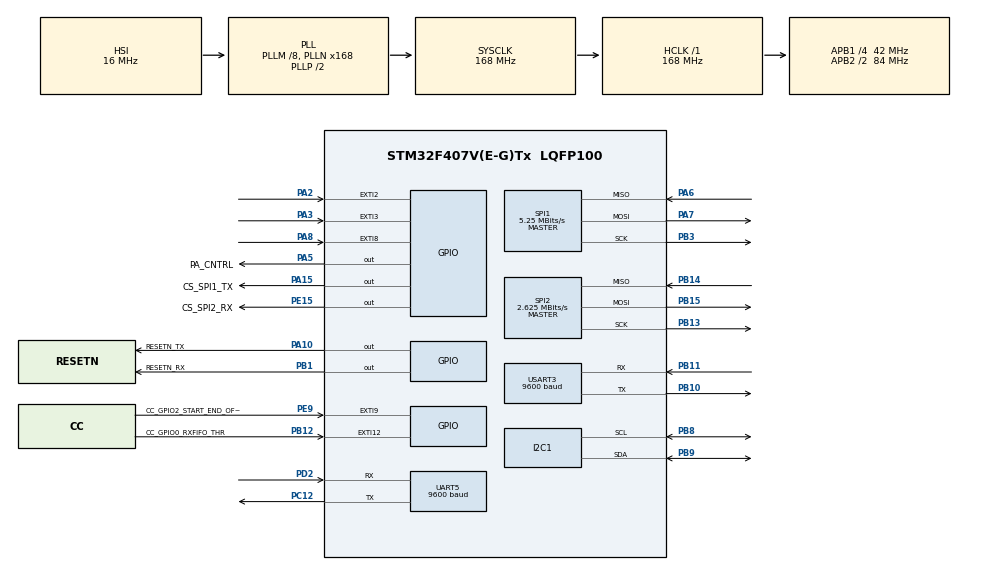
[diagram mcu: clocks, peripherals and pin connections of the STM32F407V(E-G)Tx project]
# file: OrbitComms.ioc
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ADC1.Channel-4\#ChannelRegularConversion=ADC_CHANNEL_TEMPSENSOR
ADC1.Channel-5\#ChannelRegularConversion=ADC_CHANNEL_TEMPSENSOR
ADC1.Channel-6\#ChannelRegularConversion=ADC_CHANNEL_TEMPSENSOR
ADC1.Channel-7\#ChannelRegularConversion=ADC_CHANNEL_TEMPSENSOR
ADC1.Channel-8\#ChannelRegularConversion=ADC_CHANNEL_TEMPSENSOR
ADC1.Channel-9\#ChannelRegularConversion=ADC_CHANNEL_TEMPSENSOR
ADC1.ClockPrescaler=ADC_CLOCK_SYNC_PCLK_DIV8
ADC1.ContinuousConvMode=ENABLE
ADC1.DMAContinuousRequests=ENABLE
ADC1.DataAlign=ADC_DATAALIGN_RIGHT
ADC1.DiscontinuousConvMode=DISABLE
ADC1.EOCSelection=ADC_EOC_SEQ_CONV
ADC1.EnableAnalogWatchDog=false
ADC1.ExternalTrigConv=ADC_SOFTWARE_START
ADC1.ExternalTrigConvEdge=ADC_EXTERNALTRIGCONVEDGE_NONE
ADC1.InjNumberOfConversion=0
ADC1.NbrOfConversion=6
ADC1.Rank-4\#ChannelRegularConversion=1
ADC1.Rank-5\#ChannelRegularConversion=2
ADC1.Rank-6\#ChannelRegularConversion=3
ADC1.Rank-7\#ChannelRegularConversion=4
ADC1.Rank-8\#ChannelRegularConversion=5
ADC1.Rank-9\#ChannelRegularConversion=6
ADC1.Resolution=ADC_RESOLUTION_12B
ADC1.SamplingTime-4\#ChannelRegularConversion=ADC_SAMPLETIME_480CYCLES
ADC1.SamplingTime-5\#ChannelRegularConversion=ADC_SAMPLETIME_480CYCLES
ADC1.SamplingTime-6\#ChannelRegularConversion=ADC_SAMPLETIME_480CYCLES
ADC1.SamplingTime-7\#ChannelRegularConversion=ADC_SAMPLETIME_480CYCLES
ADC1.SamplingTime-8\#ChannelRegularConversion=ADC_SAMPLETIME_480CYCLES
ADC1.SamplingTime-9\#ChannelRegularConversion=ADC_SAMPLETIME_480CYCLES
ADC1.ScanConvMode=ENABLE
ADC1.master=1
Dma.ADC1.3.Direction=DMA_PERIPH_TO_MEMORY
Dma.ADC1.3.FIFOMode=DMA_FIFOMODE_ENABLE
Dma.ADC1.3.FIFOThreshold=DMA_FIFO_THRESHOLD_FULL
Dma.ADC1.3.Instance=DMA2_Stream0
Dma.ADC1.3.MemBurst=DMA_MBURST_INC4
Dma.ADC1.3.MemDataAlignment=DMA_MDATAALIGN_WORD
Dma.ADC1.3.MemInc=DMA_MINC_ENABLE
Dma.ADC1.3.Mode=DMA_NORMAL
Dma.ADC1.3.PeriphBurst=DMA_PBURST_SINGLE
Dma.ADC1.3.PeriphDataAlignment=DMA_PDATAALIGN_WORD
Dma.ADC1.3.PeriphInc=DMA_PINC_DISABLE
Dma.ADC1.3.Priority=DMA_PRIORITY_LOW
Dma.Request0=SPI2_RX
Dma.Request1=UART5_TX
Dma.Request2=SPI1_TX
Dma.Request3=ADC1
Dma.SPI1_TX.2.Direction=DMA_MEMORY_TO_PERIPH
Dma.SPI1_TX.2.FIFOMode=DMA_FIFOMODE_DISABLE
Dma.SPI1_TX.2.Instance=DMA2_Stream3
Dma.SPI1_TX.2.MemDataAlignment=DMA_MDATAALIGN_BYTE
Dma.SPI1_TX.2.MemInc=DMA_MINC_ENABLE
Dma.SPI1_TX.2.Mode=DMA_NORMAL
Dma.SPI1_TX.2.PeriphDataAlignment=DMA_PDATAALIGN_BYTE
Dma.SPI1_TX.2.PeriphInc=DMA_PINC_DISABLE
Dma.SPI1_TX.2.Priority=DMA_PRIORITY_LOW
Dma.SPI2_RX.0.Direction=DMA_PERIPH_TO_MEMORY
Dma.SPI2_RX.0.FIFOMode=DMA_FIFOMODE_DISABLE
Dma.SPI2_RX.0.Instance=DMA1_Stream3
Dma.SPI2_RX.0.MemDataAlignment=DMA_MDATAALIGN_BYTE
Dma.SPI2_RX.0.MemInc=DMA_MINC_ENABLE
Dma.SPI2_RX.0.Mode=DMA_NORMAL
Dma.SPI2_RX.0.PeriphDataAlignment=DMA_PDATAALIGN_BYTE
Dma.SPI2_RX.0.PeriphInc=DMA_PINC_DISABLE
Dma.SPI2_RX.0.Priority=DMA_PRIORITY_LOW
Dma.UART5_TX.1.Direction=DMA_MEMORY_TO_PERIPH
Dma.UART5_TX.1.FIFOMode=DMA_FIFOMODE_DISABLE
Dma.UART5_TX.1.Instance=DMA1_Stream7
Dma.UART5_TX.1.MemDataAlignment=DMA_MDATAALIGN_BYTE
Dma.UART5_TX.1.MemInc=DMA_MINC_ENABLE
Dma.UART5_TX.1.Mode=DMA_NORMAL
Dma.UART5_TX.1.PeriphDataAlignment=DMA_PDATAALIGN_BYTE
Dma.UART5_TX.1.PeriphInc=DMA_PINC_DISABLE
Dma.UART5_TX.1.Priority=DMA_PRIORITY_LOW
IWDG.Prescaler=IWDG_PRESCALER_256
Mcu.Family=STM32F4
Mcu.Name=STM32F407V(E-G)Tx
Mcu.Package=LQFP100
NVIC.ADC_IRQn=true\:0\:0\:false\:false\:true\:true
NVIC.DMA1_Stream3_IRQn=true\:0\:0\:false\:false\:true\:true
NVIC.DMA1_Stream7_IRQn=true\:0\:0\:false\:false\:true\:true
NVIC.DMA2_Stream0_IRQn=true\:0\:0\:false\:false\:true\:true
NVIC.DMA2_Stream3_IRQn=true\:0\:0\:false\:false\:true\:true
NVIC.EXTI15_10_IRQn=true\:0\:0\:false\:false\:true\:true
NVIC.EXTI2_IRQn=true\:0\:0\:false\:false\:true\:true
NVIC.EXTI3_IRQn=true\:0\:0\:false\:false\:true\:true
NVIC.EXTI9_5_IRQn=true\:0\:0\:false\:false\:true\:true
NVIC.PriorityGroup=NVIC_PRIORITYGROUP_4
NVIC.UART5_IRQn=true\:0\:0\:false\:false\:true\:true
PA10.GPIO_Label=RESETN_TX
PA10.PinState=GPIO_PIN_SET
PA10.Signal=GPIO_Output
PA15.GPIO_Label=CS_SPI1_TX
PA15.PinState=GPIO_PIN_SET
PA15.Signal=GPIO_Output
PA2.GPIO_ModeDefaultEXTI=GPIO_MODE_IT_FALLING
PA2.Signal=GPXTI2
PA3.GPIO_ModeDefaultEXTI=GPIO_MODE_IT_FALLING
PA3.Signal=GPXTI3
PA5.GPIO_Label=PA_CNTRL
PA5.Signal=GPIO_Output
PA6.GPIO_Speed=GPIO_SPEED_FREQ_LOW
PA6.Mode=Full_Duplex_Master
PA6.Signal=SPI1_MISO
PA7.GPIO_Speed=GPIO_SPEED_FREQ_LOW
PA7.Mode=Full_Duplex_Master
PA7.Signal=SPI1_MOSI
PA8.Signal=GPXTI8
PB1.GPIO_Label=RESETN_RX
PB1.PinState=GPIO_PIN_SET
PB1.Signal=GPIO_Output
PB10.Mode=Asynchronous
PB10.Signal=USART3_TX
PB11.Mode=Asynchronous
PB11.Signal=USART3_RX
PB12.GPIO_Label=CC_GPIO0_RXFIFO_THR
PB12.GPIO_ModeDefaultEXTI=GPIO_MODE_IT_RISING
PB12.Signal=GPXTI12
PB13.GPIO_Speed=GPIO_SPEED_FREQ_LOW
PB13.Mode=Full_Duplex_Master
PB13.Signal=SPI2_SCK
PB14.GPIO_Speed=GPIO_SPEED_FREQ_LOW
PB14.Mode=Full_Duplex_Master
PB14.Signal=SPI2_MISO
PB15.GPIO_Speed=GPIO_SPEED_FREQ_LOW
PB15.Mode=Full_Duplex_Master
PB15.Signal=SPI2_MOSI
PB3.GPIO_Speed=GPIO_SPEED_FREQ_LOW
PB3.Mode=Full_Duplex_Master
PB3.Signal=SPI1_SCK
PB8.Mode=I2C
PB8.Signal=I2C1_SCL
PB9.Mode=I2C
PB9.Signal=I2C1_SDA
PC12.Mode=Asynchronous
PC12.Signal=UART5_TX
PD2.Mode=Asynchronous
PD2.Signal=UART5_RX
PE15.GPIO_Label=CS_SPI2_RX
PE15.PinState=GPIO_PIN_SET
PE15.Signal=GPIO_Output
PE9.GPIO_Label=CC_GPIO2_START_END_OF_PACKET
PE9.GPIO_ModeDefaultEXTI=GPIO_MODE_IT_RISING_FALLING
PE9.Signal=GPXTI9
PH0-OSC_IN.Mode=HSE-External-Oscillator
PH0-OSC_IN.Signal=RCC_OSC_IN
PH1-OSC_OUT.Mode=HSE-External-Oscillator
PH1-OSC_OUT.Signal=RCC_OSC_OUT
ProjectManager.HeapSize=0x200
ProjectManager.StackSize=0x400
ProjectManager.TargetToolchain=SW4STM32
RCC.48MHZClocksFreq_Value=84000000
RCC.AHBFreq_Value=168000000
RCC.APB1CLKDivider=RCC_HCLK_DIV4
RCC.APB1Freq_Value=42000000
RCC.APB1TimFreq_Value=84000000
RCC.APB2CLKDivider=RCC_HCLK_DIV2
RCC.APB2Freq_Value=84000000
RCC.APB2TimFreq_Value=168000000
RCC.CortexFreq_Value=168000000
RCC.FLatency=FLASH_LATENCY_5
RCC.HCLKFreq_Value=168000000
RCC.HSE_VALUE=25000000
RCC.HSI_VALUE=16000000
RCC.LSE_VALUE=32768
RCC.PLLM=8
RCC.PLLN=168
RCC.SYSCLKFreq_VALUE=168000000
RCC.SYSCLKSource=RCC_SYSCLKSOURCE_PLLCLK
RCC.VCOOutputFreq_Value=336000000
SPI1.BaudRatePrescaler=SPI_BAUDRATEPRESCALER_16
SPI1.CalculateBaudRate=5.25 MBits/s
SPI1.Direction=SPI_DIRECTION_2LINES
SPI1.Mode=SPI_MODE_MASTER
SPI1.VirtualType=VM_MASTER
SPI2.BaudRatePrescaler=SPI_BAUDRATEPRESCALER_16
SPI2.CalculateBaudRate=2.625 MBits/s
SPI2.Direction=SPI_DIRECTION_2LINES
SPI2.Mode=SPI_MODE_MASTER
SPI2.VirtualType=VM_MASTER
UART5.BaudRate=9600
UART5.VirtualMode=Asynchronous
USART3.BaudRate=9600
USART3.VirtualMode=VM_ASYNC
VP_ADC1_TempSens_Input.Mode=IN-TempSens
VP_ADC1_Vref_Input.Mode=IN-Vrefint
VP_IWDG_VS_IWDG.Mode=IWDG_Activate
board=OrbitComms

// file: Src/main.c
/**
  ******************************************************************************
  * @file           : main.c
  * @brief          : Main program body
  ******************************************************************************
  ** This notice applies to any and all portions of this file
  * that are not between comment pairs USER CODE BEGIN and
  * USER CODE END. Other portions of this file, whether
  * inserted by the user or by software development tools
  * are owned by their respective copyright owners.
  *
  * COPYRIGHT(c) 2018 STMicroelectronics
  *
  * Redistribution and use in source and binary forms, with or without modification,
  * are permitted provided that the following conditions are met:
  *   1. Redistributions of source code must retain the above copyright notice,
  *      this list of conditions and the following disclaimer.
  *   2. Redistributions in binary form must reproduce the above copyright notice,
  *      this list of conditions and the following disclaimer in the documentation
  *      and/or other materials provided with the distribution.
  *   3. Neither the name of STMicroelectronics nor the names of its contributors
  *      may be used to endorse or promote products derived from this software
  *      without specific prior written permission.
  *
  * THIS SOFTWARE IS PROVIDED BY THE COPYRIGHT HOLDERS AND CONTRIBUTORS "AS IS"
  * AND ANY EXPRESS OR IMPLIED WARRANTIES, INCLUDING, BUT NOT LIMITED TO, THE
  * IMPLIED WARRANTIES OF MERCHANTABILITY AND FITNESS FOR A PARTICULAR PURPOSE ARE
  * DISCLAIMED. IN NO EVENT SHALL THE COPYRIGHT HOLDER OR CONTRIBUTORS BE LIABLE
  * FOR ANY DIRECT, INDIRECT, INCIDENTAL, SPECIAL, EXEMPLARY, OR CONSEQUENTIAL
  * DAMAGES (INCLUDING, BUT NOT LIMITED TO, PROCUREMENT OF SUBSTITUTE GOODS OR
  * SERVICES; LOSS OF USE, DATA, OR PROFITS; OR BUSINESS INTERRUPTION) HOWEVER
  * CAUSED AND ON ANY THEORY OF LIABILITY, WHETHER IN CONTRACT, STRICT LIABILITY,
  * OR TORT (INCLUDING NEGLIGENCE OR OTHERWISE) ARISING IN ANY WAY OUT OF THE USE
  * OF THIS SOFTWARE, EVEN IF ADVISED OF THE POSSIBILITY OF SUCH DAMAGE.
  *
  ******************************************************************************
  */
#include "main.h"
#include "stm32f4xx_hal.h"
#include "cc112x_spi.h"
#include "debug_funcs.h"
#include "ccconfig.h"

ADC_HandleTypeDef hadc1;
DMA_HandleTypeDef hdma_adc1;

I2C_HandleTypeDef hi2c1;

IWDG_HandleTypeDef hiwdg;

SPI_HandleTypeDef hspi1;
SPI_HandleTypeDef hspi2;
DMA_HandleTypeDef hdma_spi1_tx;
DMA_HandleTypeDef hdma_spi2_rx;

UART_HandleTypeDef huart5;
UART_HandleTypeDef huart3;
DMA_HandleTypeDef hdma_uart5_tx;

/* USER CODE BEGIN PV */
/* Private variables ---------------------------------------------------------*/

/* USER CODE END PV */

void SystemClock_Config(void);
static void MX_GPIO_Init(void);
static void MX_DMA_Init(void);
static void MX_I2C1_Init(void);
static void MX_SPI1_Init(void);
static void MX_SPI2_Init(void);
static void MX_UART5_Init(void);
static void MX_USART3_UART_Init(void);
static void MX_IWDG_Init(void);
static void MX_ADC1_Init(void);

/* USER CODE BEGIN PFP */
/* Private function prototypes -----------------------------------------------*/

/* USER CODE END PFP */

int main(void)
{
  /* USER CODE BEGIN 1 */

	unsigned char message[] = "yee boiii\n";
	uint8_t spirx;
  /* USER CODE END 1 */

  /* MCU Configuration----------------------------------------------------------*/

  /* Reset of all peripherals, Initializes the Flash interface and the Systick. */
  HAL_Init();

  /* Configure the system clock */
  SystemClock_Config();

  /* Initialize all configured peripherals */
  MX_GPIO_Init();
  MX_DMA_Init();
  MX_I2C1_Init();
  MX_SPI1_Init();
  MX_SPI2_Init();
  MX_UART5_Init();
  MX_USART3_UART_Init();
  MX_IWDG_Init();
  MX_ADC1_Init();
  /* USER CODE BEGIN 2 */

  HAL_Delay(1000);
  /* TX Pins RESETN_TX, PA_CTRL_PIN, CSN1 */
  HAL_GPIO_WritePin (GPIOA, RESETN_TX_Pin, GPIO_PIN_SET);
  HAL_GPIO_WritePin (PA_CNTRL_GPIO_Port, PA_CNTRL_Pin, GPIO_PIN_SET);
  HAL_GPIO_WritePin (GPIOA, GPIO_PIN_15, GPIO_PIN_SET);

  /* RX Pins RESETN_RX, CSN2 */
  HAL_GPIO_WritePin (GPIOB, GPIO_PIN_1, GPIO_PIN_SET);
  HAL_GPIO_WritePin (GPIOE, GPIO_PIN_15, GPIO_PIN_SET);

  HAL_Delay(1000);

  if(cc_rx_Start()<0) HAL_UART_Transmit(&huart3,"rx read error", sizeof("rx read error"), 100);
  if(cc_tx_Start()<0) HAL_UART_Transmit(&huart3,"Tx read error", sizeof("Tx read error"), 100);

  /* USER CODE END 2 */

  /* Infinite loop */
  /* USER CODE BEGIN WHILE */
  while (1)
  {	  HAL_UART_Transmit(&huart3,"LOOP START\n", sizeof("LOOP START\n"), 100);
  sprintf(message,"byte:%d\n  ",cc_tx_cmd(SNOP)&0xF0);
  HAL_UART_Transmit(&huart3,message, sizeof(message), 100);
	  cc_tx_wr_reg(FIFOW,5);
	  sprintf(message,"byte:%d\n  ",cc_tx_cmd(STX)&0xF0);
	  HAL_UART_Transmit(&huart3,message, sizeof(message), 100);
	  cc_tx_cmd(SNOP);
	   while((cc_tx_cmd(SNOP)&0xF0)==(MTX&0xF0));
	   sprintf(message,"byte:%d\n  ",cc_tx_cmd(SNOP)&0xF0);
	   HAL_UART_Transmit(&huart3,message, sizeof(message), 100);
	   cc_tx_cmd(SFTX);

	  HAL_UART_Transmit(&huart3,"byte sent", sizeof("byte sent"),100);
	  HAL_Delay(1000);

  /* USER CODE END WHILE */

  }

}

void SystemClock_Config(void)
{

  RCC_OscInitTypeDef RCC_OscInitStruct;
  RCC_ClkInitTypeDef RCC_ClkInitStruct;

    /**Configure the main internal regulator output voltage
    */
  __HAL_RCC_PWR_CLK_ENABLE();

  __HAL_PWR_VOLTAGESCALING_CONFIG(PWR_REGULATOR_VOLTAGE_SCALE1);

    /**Initializes the CPU, AHB and APB busses clocks
    */
  RCC_OscInitStruct.OscillatorType = RCC_OSCILLATORTYPE_HSI|RCC_OSCILLATORTYPE_LSI;
  RCC_OscInitStruct.HSIState = RCC_HSI_ON;
  RCC_OscInitStruct.HSICalibrationValue = 16;
  RCC_OscInitStruct.LSIState = RCC_LSI_ON;
  RCC_OscInitStruct.PLL.PLLState = RCC_PLL_ON;
  RCC_OscInitStruct.PLL.PLLSource = RCC_PLLSOURCE_HSI;
  RCC_OscInitStruct.PLL.PLLM = 8;
  RCC_OscInitStruct.PLL.PLLN = 168;
  RCC_OscInitStruct.PLL.PLLP = RCC_PLLP_DIV2;
  RCC_OscInitStruct.PLL.PLLQ = 4;
  if (HAL_RCC_OscConfig(&RCC_OscInitStruct) != HAL_OK)
  {
    _Error_Handler(__FILE__, __LINE__);
  }

    /**Initializes the CPU, AHB and APB busses clocks
    */
  RCC_ClkInitStruct.ClockType = RCC_CLOCKTYPE_HCLK|RCC_CLOCKTYPE_SYSCLK
                              |RCC_CLOCKTYPE_PCLK1|RCC_CLOCKTYPE_PCLK2;
  RCC_ClkInitStruct.SYSCLKSource = RCC_SYSCLKSOURCE_PLLCLK;
  RCC_ClkInitStruct.AHBCLKDivider = RCC_SYSCLK_DIV1;
  RCC_ClkInitStruct.APB1CLKDivider = RCC_HCLK_DIV4;
  RCC_ClkInitStruct.APB2CLKDivider = RCC_HCLK_DIV2;

  if (HAL_RCC_ClockConfig(&RCC_ClkInitStruct, FLASH_LATENCY_5) != HAL_OK)
  {
    _Error_Handler(__FILE__, __LINE__);
  }

    /**Configure the Systick interrupt time
    */
  HAL_SYSTICK_Config(HAL_RCC_GetHCLKFreq()/1000);

    /**Configure the Systick
    */
  HAL_SYSTICK_CLKSourceConfig(SYSTICK_CLKSOURCE_HCLK);

  /* SysTick_IRQn interrupt configuration */
  HAL_NVIC_SetPriority(SysTick_IRQn, 0, 0);
}

/* ADC1 init function */
static void MX_ADC1_Init(void)
{

  ADC_ChannelConfTypeDef sConfig;

    /**Configure the global features of the ADC (Clock, Resolution, Data Alignment and number of conversion)
    */
  hadc1.Instance = ADC1;
  hadc1.Init.ClockPrescaler = ADC_CLOCK_SYNC_PCLK_DIV8;
  hadc1.Init.Resolution = ADC_RESOLUTION_12B;
  hadc1.Init.ScanConvMode = ENABLE;
  hadc1.Init.ContinuousConvMode = ENABLE;
  hadc1.Init.DiscontinuousConvMode = DISABLE;
  hadc1.Init.ExternalTrigConvEdge = ADC_EXTERNALTRIGCONVEDGE_NONE;
  hadc1.Init.ExternalTrigConv = ADC_SOFTWARE_START;
  hadc1.Init.DataAlign = ADC_DATAALIGN_RIGHT;
  hadc1.Init.NbrOfConversion = 6;
  hadc1.Init.DMAContinuousRequests = ENABLE;
  hadc1.Init.EOCSelection = ADC_EOC_SEQ_CONV;
  if (HAL_ADC_Init(&hadc1) != HAL_OK)
  {
    _Error_Handler(__FILE__, __LINE__);
  }

    /**Configure for the selected ADC regular channel its corresponding rank in the sequencer and its sample time.
    */
  sConfig.Channel = ADC_CHANNEL_TEMPSENSOR;
  sConfig.Rank = 1;
  sConfig.SamplingTime = ADC_SAMPLETIME_480CYCLES;
  if (HAL_ADC_ConfigChannel(&hadc1, &sConfig) != HAL_OK)
  {
    _Error_Handler(__FILE__, __LINE__);
  }

    /**Configure for the selected ADC regular channel its corresponding rank in the sequencer and its sample time.
    */
  sConfig.Rank = 2;
  if (HAL_ADC_ConfigChannel(&hadc1, &sConfig) != HAL_OK)
  {
    _Error_Handler(__FILE__, __LINE__);
  }

    /**Configure for the selected ADC regular channel its corresponding rank in the sequencer and its sample time.
    */
  sConfig.Rank = 3;
  if (HAL_ADC_ConfigChannel(&hadc1, &sConfig) != HAL_OK)
  {
    _Error_Handler(__FILE__, __LINE__);
  }

    /**Configure for the selected ADC regular channel its corresponding rank in the sequencer and its sample time.
    */
  sConfig.Rank = 4;
  if (HAL_ADC_ConfigChannel(&hadc1, &sConfig) != HAL_OK)
  {
    _Error_Handler(__FILE__, __LINE__);
  }

    /**Configure for the selected ADC regular channel its corresponding rank in the sequencer and its sample time.
    */
  sConfig.Rank = 5;
  if (HAL_ADC_ConfigChannel(&hadc1, &sConfig) != HAL_OK)
  {
    _Error_Handler(__FILE__, __LINE__);
  }

    /**Configure for the selected ADC regular channel its corresponding rank in the sequencer and its sample time.
    */
  sConfig.Rank = 6;
  if (HAL_ADC_ConfigChannel(&hadc1, &sConfig) != HAL_OK)
  {
    _Error_Handler(__FILE__, __LINE__);
  }

}

/* I2C1 init function */
static void MX_I2C1_Init(void)
{

  hi2c1.Instance = I2C1;
  hi2c1.Init.ClockSpeed = 100000;
  hi2c1.Init.DutyCycle = I2C_DUTYCYCLE_2;
  hi2c1.Init.OwnAddress1 = 0;
  hi2c1.Init.AddressingMode = I2C_ADDRESSINGMODE_7BIT;
  hi2c1.Init.DualAddressMode = I2C_DUALADDRESS_DISABLE;
  hi2c1.Init.OwnAddress2 = 0;
  hi2c1.Init.GeneralCallMode = I2C_GENERALCALL_DISABLE;
  hi2c1.Init.NoStretchMode = I2C_NOSTRETCH_DISABLE;
  if (HAL_I2C_Init(&hi2c1) != HAL_OK)
  {
    _Error_Handler(__FILE__, __LINE__);
  }

}

/* IWDG init function */
static void MX_IWDG_Init(void)
{

  hiwdg.Instance = IWDG;
  hiwdg.Init.Prescaler = IWDG_PRESCALER_256;
  hiwdg.Init.Reload = 4095;
  if (HAL_IWDG_Init(&hiwdg) != HAL_OK)
  {
    _Error_Handler(__FILE__, __LINE__);
  }

}

/* SPI1 init function */
static void MX_SPI1_Init(void)
{

  /* SPI1 parameter configuration*/
  hspi1.Instance = SPI1;
  hspi1.Init.Mode = SPI_MODE_MASTER;
  hspi1.Init.Direction = SPI_DIRECTION_2LINES;
  hspi1.Init.DataSize = SPI_DATASIZE_8BIT;
  hspi1.Init.CLKPolarity = SPI_POLARITY_LOW;
  hspi1.Init.CLKPhase = SPI_PHASE_1EDGE;
  hspi1.Init.NSS = SPI_NSS_SOFT;
  hspi1.Init.BaudRatePrescaler = SPI_BAUDRATEPRESCALER_16;
  hspi1.Init.FirstBit = SPI_FIRSTBIT_MSB;
  hspi1.Init.TIMode = SPI_TIMODE_DISABLE;
  hspi1.Init.CRCCalculation = SPI_CRCCALCULATION_DISABLE;
  hspi1.Init.CRCPolynomial = 10;
  if (HAL_SPI_Init(&hspi1) != HAL_OK)
  {
    _Error_Handler(__FILE__, __LINE__);
  }

}

/* SPI2 init function */
static void MX_SPI2_Init(void)
{

  /* SPI2 parameter configuration*/
  hspi2.Instance = SPI2;
  hspi2.Init.Mode = SPI_MODE_MASTER;
  hspi2.Init.Direction = SPI_DIRECTION_2LINES;
  hspi2.Init.DataSize = SPI_DATASIZE_8BIT;
  hspi2.Init.CLKPolarity = SPI_POLARITY_LOW;
  hspi2.Init.CLKPhase = SPI_PHASE_1EDGE;
  hspi2.Init.NSS = SPI_NSS_SOFT;
  hspi2.Init.BaudRatePrescaler = SPI_BAUDRATEPRESCALER_16;
  hspi2.Init.FirstBit = SPI_FIRSTBIT_MSB;
  hspi2.Init.TIMode = SPI_TIMODE_DISABLE;
  hspi2.Init.CRCCalculation = SPI_CRCCALCULATION_DISABLE;
  hspi2.Init.CRCPolynomial = 10;
  if (HAL_SPI_Init(&hspi2) != HAL_OK)
  {
    _Error_Handler(__FILE__, __LINE__);
  }

}

/* UART5 init function */
static void MX_UART5_Init(void)
{

  huart5.Instance = UART5;
  huart5.Init.BaudRate = 9600;
  huart5.Init.WordLength = UART_WORDLENGTH_8B;
  huart5.Init.StopBits = UART_STOPBITS_1;
  huart5.Init.Parity = UART_PARITY_NONE;
  huart5.Init.Mode = UART_MODE_TX_RX;
  huart5.Init.HwFlowCtl = UART_HWCONTROL_NONE;
  huart5.Init.OverSampling = UART_OVERSAMPLING_16;
  if (HAL_UART_Init(&huart5) != HAL_OK)
  {
    _Error_Handler(__FILE__, __LINE__);
  }

}

/* USART3 init function */
static void MX_USART3_UART_Init(void)
{

  huart3.Instance = USART3;
  huart3.Init.BaudRate = 9600;
  huart3.Init.WordLength = UART_WORDLENGTH_8B;
  huart3.Init.StopBits = UART_STOPBITS_1;
  huart3.Init.Parity = UART_PARITY_NONE;
  huart3.Init.Mode = UART_MODE_TX_RX;
  huart3.Init.HwFlowCtl = UART_HWCONTROL_NONE;
  huart3.Init.OverSampling = UART_OVERSAMPLING_16;
  if (HAL_UART_Init(&huart3) != HAL_OK)
  {
    _Error_Handler(__FILE__, __LINE__);
  }

}

static void MX_DMA_Init(void)
{
  /* DMA controller clock enable */
  __HAL_RCC_DMA1_CLK_ENABLE();
  __HAL_RCC_DMA2_CLK_ENABLE();

  /* DMA interrupt init */
  /* DMA1_Stream3_IRQn interrupt configuration */
  HAL_NVIC_SetPriority(DMA1_Stream3_IRQn, 0, 0);
  HAL_NVIC_EnableIRQ(DMA1_Stream3_IRQn);
  /* DMA1_Stream7_IRQn interrupt configuration */
  HAL_NVIC_SetPriority(DMA1_Stream7_IRQn, 0, 0);
  HAL_NVIC_EnableIRQ(DMA1_Stream7_IRQn);
  /* DMA2_Stream0_IRQn interrupt configuration */
  HAL_NVIC_SetPriority(DMA2_Stream0_IRQn, 0, 0);
  HAL_NVIC_EnableIRQ(DMA2_Stream0_IRQn);
  /* DMA2_Stream3_IRQn interrupt configuration */
  HAL_NVIC_SetPriority(DMA2_Stream3_IRQn, 0, 0);
  HAL_NVIC_EnableIRQ(DMA2_Stream3_IRQn);

}

/** Configure pins as
        * Analog
        * Input
        * Output
        * EVENT_OUT
        * EXTI
*/
static void MX_GPIO_Init(void)
{

  GPIO_InitTypeDef GPIO_InitStruct;

  /* GPIO Ports Clock Enable */
  __HAL_RCC_GPIOH_CLK_ENABLE();
  __HAL_RCC_GPIOA_CLK_ENABLE();
  __HAL_RCC_GPIOB_CLK_ENABLE();
  __HAL_RCC_GPIOE_CLK_ENABLE();
  __HAL_RCC_GPIOC_CLK_ENABLE();
  __HAL_RCC_GPIOD_CLK_ENABLE();

  /*Configure GPIO pin Output Level */
  HAL_GPIO_WritePin(PA_CNTRL_GPIO_Port, PA_CNTRL_Pin, GPIO_PIN_RESET);

  /*Configure GPIO pin Output Level */
  HAL_GPIO_WritePin(RESETN_RX_GPIO_Port, RESETN_RX_Pin, GPIO_PIN_SET);

  /*Configure GPIO pin Output Level */
  HAL_GPIO_WritePin(CS_SPI2_RX_GPIO_Port, CS_SPI2_RX_Pin, GPIO_PIN_SET);

  /*Configure GPIO pin Output Level */
  HAL_GPIO_WritePin(GPIOA, RESETN_TX_Pin|CS_SPI1_TX_Pin, GPIO_PIN_SET);

  /*Configure GPIO pins : PA2 PA3 */
  GPIO_InitStruct.Pin = GPIO_PIN_2|GPIO_PIN_3;
  GPIO_InitStruct.Mode = GPIO_MODE_IT_FALLING;
  GPIO_InitStruct.Pull = GPIO_NOPULL;
  HAL_GPIO_Init(GPIOA, &GPIO_InitStruct);

  /*Configure GPIO pins : PA_CNTRL_Pin RESETN_TX_Pin CS_SPI1_TX_Pin */
  GPIO_InitStruct.Pin = PA_CNTRL_Pin|RESETN_TX_Pin|CS_SPI1_TX_Pin;
  GPIO_InitStruct.Mode = GPIO_MODE_OUTPUT_PP;
  GPIO_InitStruct.Pull = GPIO_NOPULL;
  GPIO_InitStruct.Speed = GPIO_SPEED_FREQ_LOW;
  HAL_GPIO_Init(GPIOA, &GPIO_InitStruct);

  /*Configure GPIO pin : RESETN_RX_Pin */
  GPIO_InitStruct.Pin = RESETN_RX_Pin;
  GPIO_InitStruct.Mode = GPIO_MODE_OUTPUT_PP;
  GPIO_InitStruct.Pull = GPIO_NOPULL;
  GPIO_InitStruct.Speed = GPIO_SPEED_FREQ_LOW;
  HAL_GPIO_Init(RESETN_RX_GPIO_Port, &GPIO_InitStruct);

  /*Configure GPIO pin : CC_GPIO2_START_END_OF_PACKET_Pin */
  GPIO_InitStruct.Pin = CC_GPIO2_START_END_OF_PACKET_Pin;
  GPIO_InitStruct.Mode = GPIO_MODE_IT_RISING_FALLING;
  GPIO_InitStruct.Pull = GPIO_NOPULL;
  HAL_GPIO_Init(CC_GPIO2_START_END_OF_PACKET_GPIO_Port, &GPIO_InitStruct);

  /*Configure GPIO pin : CS_SPI2_RX_Pin */
  GPIO_InitStruct.Pin = CS_SPI2_RX_Pin;
  GPIO_InitStruct.Mode = GPIO_MODE_OUTPUT_PP;
  GPIO_InitStruct.Pull = GPIO_NOPULL;
  GPIO_InitStruct.Speed = GPIO_SPEED_FREQ_LOW;
  HAL_GPIO_Init(CS_SPI2_RX_GPIO_Port, &GPIO_InitStruct);

  /*Configure GPIO pin : CC_GPIO0_RXFIFO_THR_Pin */
  GPIO_InitStruct.Pin = CC_GPIO0_RXFIFO_THR_Pin;
  GPIO_InitStruct.Mode = GPIO_MODE_IT_RISING;
  GPIO_InitStruct.Pull = GPIO_NOPULL;
  HAL_GPIO_Init(CC_GPIO0_RXFIFO_THR_GPIO_Port, &GPIO_InitStruct);

  /*Configure GPIO pin : PA8 */
  GPIO_InitStruct.Pin = GPIO_PIN_8;
  GPIO_InitStruct.Mode = GPIO_MODE_IT_RISING;
  GPIO_InitStruct.Pull = GPIO_NOPULL;
  HAL_GPIO_Init(GPIOA, &GPIO_InitStruct);

  /* EXTI interrupt init*/
  HAL_NVIC_SetPriority(EXTI2_IRQn, 0, 0);
  HAL_NVIC_EnableIRQ(EXTI2_IRQn);

  HAL_NVIC_SetPriority(EXTI3_IRQn, 0, 0);
  HAL_NVIC_EnableIRQ(EXTI3_IRQn);

  HAL_NVIC_SetPriority(EXTI9_5_IRQn, 0, 0);
  HAL_NVIC_EnableIRQ(EXTI9_5_IRQn);

  HAL_NVIC_SetPriority(EXTI15_10_IRQn, 0, 0);
  HAL_NVIC_EnableIRQ(EXTI15_10_IRQn);

}

void _Error_Handler(char *file, int line)
{
  while(1)
  {
  }
}

/************************ (C) COPYRIGHT STMicroelectronics *****END OF FILE****/
